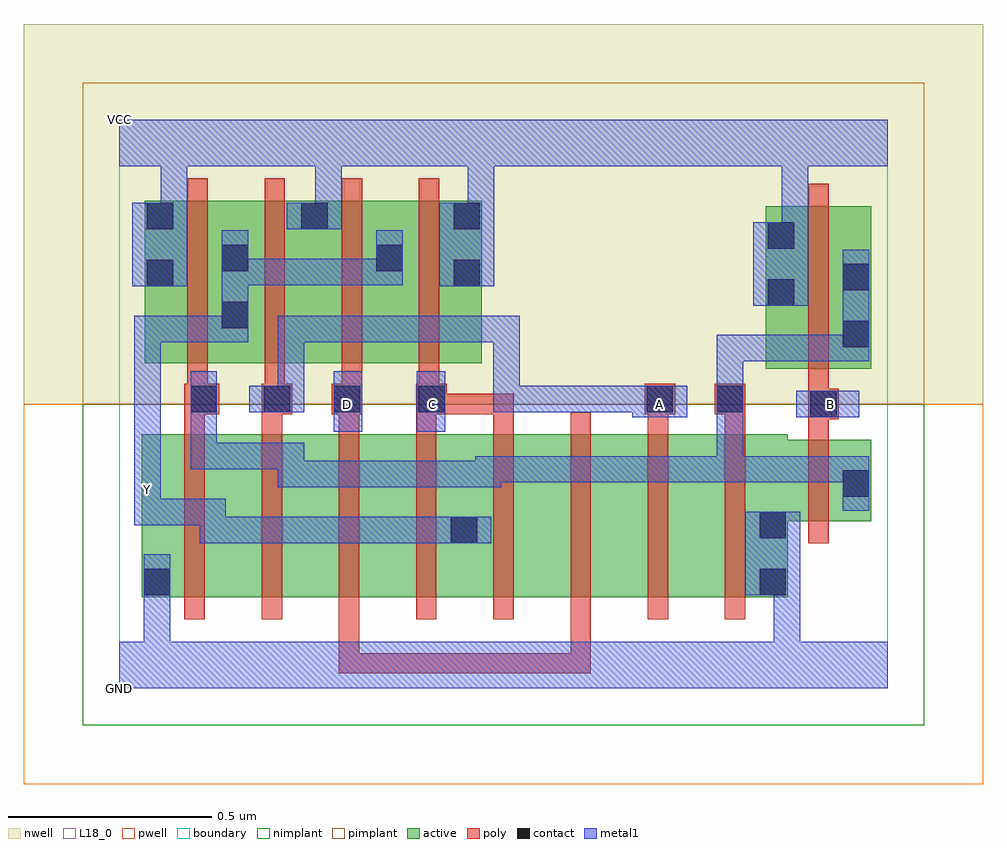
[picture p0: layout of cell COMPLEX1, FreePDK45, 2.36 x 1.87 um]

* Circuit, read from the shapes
.subckt COMPLEX1 A B C D GND VCC Y
M1 n1 n2 GND VSUBS nfet w=0.4u l=0.05u
M2 n3 A n1 VSUBS nfet w=0.4u l=0.05u
M3 n4 D n3 VSUBS nfet w=0.4u l=0.05u
M4 Y C n4 VSUBS nfet w=0.4u l=0.05u
M5 n5 C Y VSUBS nfet w=0.4u l=0.05u
M6 n6 D n5 VSUBS nfet w=0.4u l=0.05u
M7 n7 A n6 VSUBS nfet w=0.4u l=0.05u
M8 GND n2 n7 VSUBS nfet w=0.4u l=0.05u
M9 n2 B GND VSUBS nfet w=0.2u l=0.05u
M10 Y n2 VCC n8 pfet w=0.4u l=0.05u
M11 VCC A Y n8 pfet w=0.4u l=0.05u
M12 Y D VCC n8 pfet w=0.4u l=0.05u
M13 VCC C Y n8 pfet w=0.4u l=0.05u
M14 n2 B VCC n8 pfet w=0.4u l=0.05u
.ends

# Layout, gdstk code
import gdstk
lib = gdstk.Library(unit=1e-6, precision=1e-09)
def R(c, l, rs):  # rectangles x0, y0, x1, y1
    for r in rs: c.add(gdstk.rectangle(r[:2], r[2:], *l))
def A(c, l, x, y, w, h, nx, ny, dx, dy):  # array of equal rectangles
    R(c, l, [(x+i*dx, y+j*dy, x+i*dx+w, y+j*dy+h) for i in range(nx) for j in range(ny)])
active = (1, 0)
pwell = (2, 0)
nwell = (3, 0)
nimplant = (4, 0)
pimplant = (5, 0)
poly = (9, 0)
contact = (10, 0)
metal1 = (11, 0)
L18_0 = (18, 0)
boundary = (235, 0)

complex1 = lib.new_cell('COMPLEX1')
R(complex1, active, [(0.055,0.225,0.28,0.625), (0.055,0.225,0.13,0.625), (0.28,0.225,0.47,0.625), (0.47,0.225,0.66,0.625), (0.66,0.225,0.885,0.625), (0.81,0.225,1.04,0.625), (0.81,0.225,0.885,0.617), (1.04,0.225,1.23,0.625), (1.23,0.225,1.42,0.625), (1.42,0.225,1.645,0.625), (1.57,0.225,1.645,0.597), (1.57,0.412,1.85,0.612), (1.775,0.445,1.85,0.612), (1.59,0.787,1.665,1.187), (1.59,0.787,1.85,1.187), (1.775,0.787,1.85,1.155), (0.062,0.8,0.137,1.2), (0.062,0.8,0.322,1.2), (0.247,0.8,0.517,1.2), (0.442,0.8,0.702,1.2), (0.627,0.8,0.892,1.2), (0.247,0.882,0.322,1.155), (0.442,0.907,0.517,1.2), (0.627,0.907,0.702,1.192), (0.817,0.907,0.892,1.2)])
R(complex1, pwell, [(-0.235,-0.235,2.125,0.7)])
R(complex1, nwell, [(-0.235,0.7,2.125,1.635)])
R(complex1, nimplant, [(-0.09,-0.09,1.98,0.7)])
R(complex1, pimplant, [(-0.09,0.7,1.98,1.49)])
A(complex1, poly, 0.16, 0.17, 0.05, 0.51, 8, 1, 0.19, 0)
A(complex1, poly, 0.16, 0.63, 0.05, 0.095, 5, 1, 0.19, 0)
A(complex1, poly, 0.167, 0.7, 0.05, 0.095, 4, 1, 0.19, 0)
A(complex1, poly, 0.167, 0.745, 0.05, 0.51, 4, 1, 0.19, 0)
R(complex1, poly, [(0.54,0.037,0.59,0.22), (0.54,0.037,0.59,0.087), (0.54,0.037,0.837,0.087), (0.787,0.037,0.837,0.087), (0.787,0.037,0.837,0.087), (0.787,0.037,0.837,0.087), (0.787,0.037,1.027,0.087), (0.977,0.037,1.027,0.087), (0.977,0.037,1.027,0.087), (0.977,0.037,1.027,0.087), (0.977,0.037,1.16,0.087), (1.11,0.037,1.16,0.22), (1.11,0.037,1.16,0.087), (1.11,0.037,1.16,0.087), (1.11,0.037,1.16,0.087), (1.695,0.357,1.745,0.667), (1.695,0.617,1.745,0.712), (1.3,0.63,1.35,0.725), (1.49,0.63,1.54,0.725), (1.695,0.662,1.77,0.737), (0.16,0.675,0.245,0.75), (0.35,0.675,0.425,0.75), (0.522,0.675,0.597,0.75), (0.73,0.675,0.805,0.75), (0.755,0.675,0.97,0.725), (0.92,0.675,0.97,0.725), (0.92,0.675,0.97,0.725), (0.92,0.675,0.97,0.725), (1.292,0.675,1.367,0.75), (1.465,0.675,1.54,0.75), (1.695,0.687,1.745,0.782), (1.695,0.732,1.745,1.242)])
R(complex1, contact, [(0.06,0.23,0.125,0.295), (1.575,0.23,1.64,0.295), (0.815,0.357,0.88,0.422), (1.575,0.37,1.64,0.435), (1.78,0.472,1.845,0.537), (1.7,0.667,1.765,0.732), (0.175,0.68,0.24,0.745), (0.355,0.68,0.42,0.745), (0.527,0.68,0.592,0.745), (0.735,0.68,0.8,0.745), (1.297,0.68,1.362,0.745), (1.47,0.68,1.535,0.745), (1.78,0.84,1.845,0.905), (0.252,0.887,0.317,0.952), (1.595,0.942,1.66,1.007), (1.78,0.98,1.845,1.045), (0.067,0.99,0.132,1.055), (0.822,0.99,0.887,1.055), (0.252,1.027,0.317,1.092), (0.632,1.027,0.697,1.092), (1.595,1.082,1.66,1.147), (0.067,1.13,0.132,1.195), (0.447,1.13,0.512,1.195), (0.822,1.13,0.887,1.195)])
R(complex1, metal1, [(0,0,1.89,0.115), (0.06,0.05,0.125,0.115), (0.06,0.05,0.125,0.115), (0.06,0.05,0.125,0.26), (1.61,0.05,1.675,0.115), (1.61,0.05,1.675,0.115), (1.61,0.05,1.675,0.295), (0.06,0.195,0.125,0.33), (1.54,0.23,1.675,0.435), (0.197,0.357,0.262,0.467), (0.197,0.357,0.455,0.422), (0.39,0.357,0.455,0.422), (0.39,0.357,0.455,0.422), (0.39,0.357,0.455,0.422), (0.39,0.357,0.66,0.422), (0.595,0.357,0.66,0.422), (0.595,0.357,0.66,0.422), (0.595,0.357,0.66,0.422), (0.595,0.357,0.802,0.422), (0.737,0.357,0.802,0.422), (0.737,0.357,0.845,0.422), (0.78,0.357,0.915,0.422), (0.037,0.402,0.102,0.467), (0.037,0.402,0.102,0.467), (0.037,0.402,0.102,0.467), (0.037,0.402,0.262,0.467), (0.037,0.402,0.102,0.487), (0.037,0.422,0.102,0.487), (0.037,0.422,0.102,0.487), (0.037,0.422,0.102,0.557), (1.78,0.437,1.845,0.572), (0.037,0.492,0.102,0.917), (0.39,0.495,0.455,0.56), (0.39,0.495,0.455,0.56), (0.39,0.495,0.66,0.56), (0.39,0.495,0.455,0.605), (0.595,0.495,0.66,0.56), (0.595,0.495,0.66,0.56), (0.595,0.495,0.66,0.56), (0.595,0.495,0.802,0.56), (0.737,0.495,0.802,0.56), (0.737,0.495,0.802,0.56), (0.737,0.495,0.802,0.56), (0.737,0.495,0.94,0.56), (0.875,0.495,0.94,0.572), (0.875,0.507,1.122,0.572), (1.057,0.507,1.122,0.572), (1.057,0.507,1.122,0.572), (1.057,0.507,1.122,0.572), (1.057,0.507,1.26,0.572), (1.195,0.507,1.26,0.572), (1.195,0.507,1.26,0.572), (1.195,0.507,1.26,0.572), (1.195,0.507,1.397,0.572), (1.332,0.507,1.397,0.572), (1.332,0.507,1.397,0.572), (1.332,0.507,1.397,0.572), (1.332,0.507,1.535,0.572), (1.47,0.507,1.535,0.572), (1.47,0.507,1.845,0.572), (1.47,0.507,1.535,0.78), (1.78,0.507,1.845,0.572), (1.78,0.507,1.845,0.572), (0.175,0.54,0.24,0.605), (0.175,0.54,0.455,0.605), (0.175,0.54,0.24,0.71), (0.527,0.632,0.597,0.78), (0.732,0.632,0.802,0.78), (0.175,0.645,0.24,0.71), (0.175,0.645,0.24,0.71), (0.175,0.645,0.24,0.78), (1.47,0.645,1.535,0.78), (1.262,0.667,1.397,0.745), (1.665,0.667,1.82,0.732), (0.32,0.68,0.455,0.745), (0.39,0.68,0.455,0.745), (0.39,0.68,0.455,0.745), (0.39,0.68,0.455,0.917), (0.92,0.68,0.985,0.745), (0.92,0.68,0.985,0.745), (0.92,0.68,0.985,0.745), (0.92,0.68,1.122,0.745), (0.92,0.68,0.985,0.917), (1.057,0.68,1.122,0.745), (1.057,0.68,1.122,0.745), (1.057,0.68,1.122,0.745), (1.057,0.68,1.26,0.745), (1.195,0.68,1.26,0.745), (1.195,0.68,1.327,0.745), (1.47,0.715,1.535,0.78), (1.47,0.715,1.535,0.78), (1.47,0.715,1.535,0.87), (1.47,0.805,1.535,0.87), (1.47,0.805,1.845,0.87), (1.78,0.805,1.845,0.87), (1.78,0.805,1.845,0.87), (1.78,0.805,1.845,1.08), (0.037,0.852,0.102,0.917), (0.037,0.852,0.102,0.917), (0.037,0.852,0.102,0.917), (0.037,0.852,0.317,0.917), (0.252,0.852,0.317,1.127), (0.39,0.852,0.455,0.917), (0.39,0.852,0.66,0.917), (0.595,0.852,0.66,0.917), (0.595,0.852,0.66,0.917), (0.595,0.852,0.66,0.917), (0.595,0.852,0.797,0.917), (0.732,0.852,0.797,0.917), (0.732,0.852,0.985,0.917), (0.92,0.852,0.985,0.917), (1.56,0.942,1.695,1.147), (0.032,0.99,0.167,1.195), (0.787,0.99,0.922,1.195), (0.252,0.992,0.317,1.057), (0.252,0.992,0.317,1.127), (0.252,0.992,0.455,1.057), (0.39,0.992,0.455,1.057), (0.39,0.992,0.455,1.057), (0.39,0.992,0.455,1.057), (0.39,0.992,0.66,1.057), (0.595,0.992,0.66,1.057), (0.595,0.992,0.697,1.057), (0.632,0.992,0.697,1.127), (1.63,1.082,1.695,1.35), (0.102,1.13,0.167,1.35), (0.412,1.13,0.547,1.195), (0.482,1.13,0.547,1.35), (0.857,1.13,0.922,1.35), (0,1.285,1.89,1.4)])
R(complex1, L18_0, [(0,0,1.89,0.115), (0.06,0.05,0.125,0.115), (0.06,0.05,0.125,0.115), (0.06,0.05,0.125,0.26), (1.61,0.05,1.675,0.115), (1.61,0.05,1.675,0.115), (1.61,0.05,1.675,0.295), (0.06,0.195,0.125,0.33), (1.54,0.23,1.675,0.435), (0.197,0.357,0.262,0.467), (0.197,0.357,0.455,0.422), (0.39,0.357,0.455,0.422), (0.39,0.357,0.455,0.422), (0.39,0.357,0.455,0.422), (0.39,0.357,0.66,0.422), (0.595,0.357,0.66,0.422), (0.595,0.357,0.66,0.422), (0.595,0.357,0.66,0.422), (0.595,0.357,0.802,0.422), (0.737,0.357,0.802,0.422), (0.737,0.357,0.845,0.422), (0.78,0.357,0.915,0.422), (0.037,0.402,0.102,0.467), (0.037,0.402,0.102,0.467), (0.037,0.402,0.102,0.467), (0.037,0.402,0.102,0.487), (0.037,0.402,0.262,0.467), (0.037,0.422,0.102,0.487), (0.037,0.422,0.102,0.487), (0.037,0.422,0.102,0.557), (0.037,0.457,0.102,0.522), (0.037,0.492,0.102,0.917), (0.527,0.632,0.597,0.78), (0.732,0.632,0.802,0.78), (0.527,0.667,0.592,0.732), (0.737,0.667,0.802,0.732), (1.262,0.667,1.397,0.745), (1.297,0.667,1.362,0.732), (1.665,0.667,1.82,0.732), (1.717,0.667,1.782,0.732), (0.32,0.68,0.455,0.745), (0.39,0.68,0.455,0.745), (0.39,0.68,0.455,0.745), (0.39,0.68,0.455,0.917), (0.92,0.68,0.985,0.745), (0.92,0.68,0.985,0.745), (0.92,0.68,0.985,0.745), (0.92,0.68,0.985,0.917), (0.92,0.68,1.122,0.745), (1.057,0.68,1.122,0.745), (1.057,0.68,1.122,0.745), (1.057,0.68,1.122,0.745), (1.057,0.68,1.26,0.745), (1.195,0.68,1.26,0.745), (1.195,0.68,1.327,0.745), (0.037,0.852,0.102,0.917), (0.037,0.852,0.102,0.917), (0.037,0.852,0.102,0.917), (0.037,0.852,0.317,0.917), (0.252,0.852,0.317,1.127), (0.39,0.852,0.455,0.917), (0.39,0.852,0.66,0.917), (0.595,0.852,0.66,0.917), (0.595,0.852,0.66,0.917), (0.595,0.852,0.66,0.917), (0.595,0.852,0.797,0.917), (0.732,0.852,0.797,0.917), (0.732,0.852,0.985,0.917), (0.92,0.852,0.985,0.917), (1.56,0.942,1.695,1.147), (0.032,0.99,0.167,1.195), (0.787,0.99,0.922,1.195), (0.252,0.992,0.317,1.057), (0.252,0.992,0.317,1.127), (0.252,0.992,0.455,1.057), (0.39,0.992,0.455,1.057), (0.39,0.992,0.455,1.057), (0.39,0.992,0.455,1.057), (0.39,0.992,0.66,1.057), (0.595,0.992,0.66,1.057), (0.595,0.992,0.697,1.057), (0.632,0.992,0.697,1.127), (1.63,1.082,1.695,1.35), (0.102,1.13,0.167,1.35), (0.412,1.13,0.547,1.195), (0.482,1.13,0.547,1.35), (0.857,1.13,0.922,1.35), (0,1.285,1.89,1.4)])
R(complex1, boundary, [(0,0,1.89,1.4)])
complex1.add(gdstk.Label('A', (1.33,0.7), layer=11, texttype=0))
complex1.add(gdstk.Label('B', (1.75,0.7), layer=11, texttype=0))
complex1.add(gdstk.Label('C', (0.77,0.7), layer=11, texttype=0))
complex1.add(gdstk.Label('D', (0.56,0.7), layer=11, texttype=0))
complex1.add(gdstk.Label('Y', (0.07,0.49), layer=11, texttype=0))
complex1.add(gdstk.Label('VCC', (0,1.4), layer=11, texttype=0))
complex1.add(gdstk.Label('GND', (0,0), layer=11, texttype=0))

lib.write_gds('COMPLEX1.gds')
